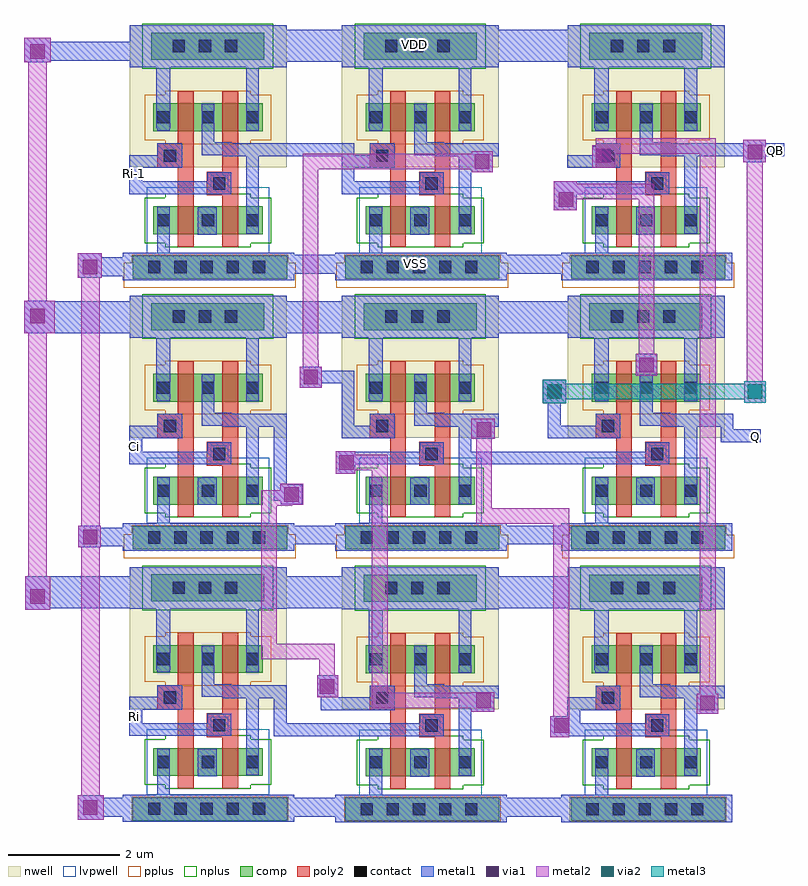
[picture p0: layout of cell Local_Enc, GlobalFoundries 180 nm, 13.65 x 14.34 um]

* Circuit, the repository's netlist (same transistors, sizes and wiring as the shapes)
* NGSPICE file created from Local_Enc.ext - technology: gf180mcuC

.subckt pmos_3p3_M8RWPS a_n28_n94# w_n202_n180# a_n116_n50# a_28_n50#
X0 a_28_n50# a_n28_n94# a_n116_n50# w_n202_n180# pfet_03v3 ad=0.22p pd=1.88u as=0.22p ps=1.88u w=0.5u l=0.28u
.ends

.subckt nmos_3p3_HZS5UA a_n28_n94# a_n116_n50# a_28_n50# VSUBS
X0 a_28_n50# a_n28_n94# a_n116_n50# VSUBS nfet_03v3 ad=0.22p pd=1.88u as=0.22p ps=1.88u w=0.5u l=0.28u
.ends

.subckt NAND VDD VSS B A OUT
Xpmos_3p3_M8RWPS_0 A VDD VDD OUT pmos_3p3_M8RWPS
Xpmos_3p3_M8RWPS_1 B VDD VDD OUT pmos_3p3_M8RWPS
Xnmos_3p3_HZS5UA_0 A m1_184_67# OUT VSS nmos_3p3_HZS5UA
Xnmos_3p3_HZS5UA_1 B VSS m1_184_67# VSS nmos_3p3_HZS5UA
.ends

.subckt Local_Enc Ri-1 VDD VSS Q QB Ci Ri
XNAND_0 VDD VSS Ri-1 Ri-1 NAND_1/B NAND
XNAND_1 VDD VSS NAND_1/B NAND_1/B NAND_5/B NAND
XNAND_2 VDD VSS Ci Ci NAND_6/B NAND
XNAND_4 VDD VSS NAND_4/B Q QB NAND
XNAND_3 VDD VSS Ri Ri NAND_6/A NAND
XNAND_5 VDD VSS NAND_5/B NAND_5/A NAND_8/A NAND
XNAND_6 VDD VSS NAND_6/B NAND_6/A NAND_5/A NAND
XNAND_7 VDD VSS NAND_8/A NAND_8/A NAND_4/B NAND
XNAND_8 VDD VSS QB NAND_8/A Q NAND
.ends

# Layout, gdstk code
from math import pi, radians
import gdstk
lib = gdstk.Library(unit=1e-6, precision=1e-09)
def R(c, l, rs):  # rectangles x0, y0, x1, y1
    for r in rs: c.add(gdstk.rectangle(r[:2], r[2:], *l))
def A(c, l, x, y, w, h, nx, ny, dx, dy):  # array of equal rectangles
    R(c, l, [(x+i*dx, y+j*dy, x+i*dx+w, y+j*dy+h) for i in range(nx) for j in range(ny)])
nwell = (21, 0)
comp = (22, 0)
poly2 = (30, 0)
pplus = (31, 0)
nplus = (32, 0)
contact = (33, 0)
metal1 = (34, 0)
via1 = (35, 0)
metal2 = (36, 0)
via2 = (38, 0)
metal3 = (42, 0)
lvpwell = (204, 0)

pmos_3p3_m8rwps = lib.new_cell('pmos_3p3_M8RWPS')
R(pmos_3p3_m8rwps, nwell, [(-1.01,-0.9,1.01,0.9)])
R(pmos_3p3_m8rwps, comp, [(-0.58,-0.25,0.58,0.25)])
R(pmos_3p3_m8rwps, poly2, [(-0.14,-0.47,0.14,0.47)])
R(pmos_3p3_m8rwps, pplus, [(-0.37,-0.48,0.37,-0.41), (-0.74,-0.41,0.74,0.41), (-0.37,0.41,0.37,0.48)])
R(pmos_3p3_m8rwps, contact, [(-0.51,-0.11,-0.29,0.11), (0.29,-0.11,0.51,0.11)])
R(pmos_3p3_m8rwps, metal1, [(-0.515,-0.24,-0.285,0.24), (0.285,-0.24,0.515,0.24)])

nmos_3p3_hzs5ua = lib.new_cell('nmos_3p3_HZS5UA')
R(nmos_3p3_hzs5ua, comp, [(-0.58,-0.25,0.58,0.25)])
R(nmos_3p3_hzs5ua, poly2, [(-0.14,-0.47,0.14,0.47)])
R(nmos_3p3_hzs5ua, nplus, [(-0.37,-0.48,0.37,-0.41), (-0.74,-0.41,0.74,0.41), (-0.37,0.41,0.37,0.48)])
R(nmos_3p3_hzs5ua, contact, [(-0.51,-0.11,-0.29,0.11), (0.29,-0.11,0.51,0.11)])
R(nmos_3p3_hzs5ua, metal1, [(-0.515,-0.24,-0.285,0.24), (0.285,-0.24,0.515,0.24)])
R(nmos_3p3_hzs5ua, lvpwell, [(-0.7,-0.59,0.7,0.59)])

nand = lib.new_cell('NAND')
R(nand, nwell, [(0.56,1.61,0.61,1.66), (1.55,1.64,2.51,1.73), (0.19,1.66,0.625,1.965), (1.36,1.73,2.51,1.76), (1.55,1.76,2.51,1.895), (1.55,1.895,2.38,1.9), (1.215,1.96,2.015,1.97), (0.19,1.965,0.635,1.97), (1.215,1.97,1.53,1.99), (-0.31,3.34,2.51,4.09)])
R(nand, comp, [(-0.25,-0.46,2.52,-0.05), (0.08,3.475,2.11,3.96)])
R(nand, poly2, [(1.08,1.04,1.515,1.06), (0.56,1.06,0.84,1.53), (1.08,1.06,1.64,1.465), (1.36,1.465,1.64,1.97), (0.19,1.53,0.84,1.97)])
R(nand, pplus, [(-0.27,-0.48,2.54,-0.03), (1.07,1.96,1.13,2.03), (1.07,2.85,1.13,2.92)])
R(nand, nplus, [(1.07,0.11,1.13,0.18), (1.07,1,1.13,1.07), (-0.08,3.315,2.27,4.12)])
A(nand, contact, 0.025, -0.36, 0.22, 0.22, 5, 1, 0.47, 0)
A(nand, contact, 0.465, 3.61, 0.22, 0.22, 3, 1, 0.47, 0)
R(nand, contact, [(1.19,1.14,1.41,1.36), (0.305,1.64,0.525,1.86)])
R(nand, metal1, [(-0.43,-0.485,2.65,0.005), (0.185,0.005,0.415,0.83), (0.92,0.335,1.255,0.825), (1.785,0.35,2.015,1.74), (-0.305,1.06,1.515,1.29), (1.09,1.29,1.515,1.455), (-0.315,1.53,0.635,1.76), (1.365,1.74,2.51,1.76), (0.19,1.76,0.635,1.97), (0.985,1.76,2.51,1.97), (0.985,1.97,1.53,1.99), (0.985,1.99,1.215,2.2), (0.985,2.2,1.21,2.235), (1.785,2.2,2.015,3.34), (1.045,2.235,1.15,2.27), (0.17,2.245,0.425,3.34), (-0.31,3.34,2.51,4.09)])
R(nand, lvpwell, [(0.435,1.055,1.09,1.06), (1.515,1.055,2.08,1.06), (1.145,1.105,1.46,1.4), (1.145,1.4,1.445,1.405)])
nand.add(gdstk.Reference(pmos_3p3_m8rwps, (0.7,2.44)))
nand.add(gdstk.Reference(pmos_3p3_m8rwps, (1.5,2.44), rotation=pi, x_reflection=True))
nand.add(gdstk.Reference(nmos_3p3_hzs5ua, (0.7,0.59)))
nand.add(gdstk.Reference(nmos_3p3_hzs5ua, (1.5,0.59)))
nand.add(gdstk.Label('VDD', (1.035,3.72), layer=22, texttype=0))
nand.add(gdstk.Label('VSS', (1.08,-0.24), layer=22, texttype=0))
nand.add(gdstk.Label('B', (-0.165,1.65), layer=34, texttype=10))
nand.add(gdstk.Label('A', (-0.15,1.16), layer=34, texttype=10))
nand.add(gdstk.Label('OUT', (2.345,1.88), layer=34, texttype=10))

local_enc = lib.new_cell('Local_Enc')
R(local_enc, nwell, [(8.69,11.765,9.07,12.135)])
R(local_enc, pplus, [(0.275,4.74,3.365,4.88), (4.09,4.74,7.18,4.88), (8.145,4.74,11.235,4.88), (0.275,4.88,0.415,5.165), (3.225,4.88,3.365,5.165), (4.09,4.88,4.23,5.16), (7.04,4.88,7.18,5.16), (8.145,4.88,8.285,5.16), (11.095,4.88,11.235,5.16), (0.275,9.595,3.365,9.735), (4.09,9.595,7.18,9.735), (8.145,9.595,11.235,9.735), (0.275,9.735,0.415,10.04), (3.225,9.735,3.365,10.04), (4.09,9.735,4.23,10.04), (7.04,9.735,7.18,10.04), (8.145,9.735,8.285,10.04), (11.095,9.735,11.235,10.04)])
R(local_enc, metal1, [(-0.555,0.035,-0.09,0.095), (-0.555,0.095,11.145,0.43), (-0.555,0.43,-0.09,0.48), (7.93,1.525,8.275,1.545), (2.965,1.54,4.425,1.77), (0.37,1.545,0.6,2.245), (7.93,1.545,8.47,1.9), (2.965,1.77,3.195,2.455), (8.24,1.9,8.47,2.24), (10.56,1.945,10.945,2.3), (6.515,1.98,6.93,2.33), (3.81,2.01,4.415,2.24), (3.745,2.24,4.12,2.63), (10.62,2.3,10.9,2.32), (10.645,2.32,10.875,2.45), (6.595,2.33,6.875,2.36), (6.62,2.36,6.85,2.45), (-1.495,3.815,-1.05,3.835), (-1.495,3.835,-1.04,3.84), (-1.495,3.84,10.98,4.415), (-0.55,4.93,-0.145,4.95), (-0.55,4.95,0.59,4.985), (-0.55,4.985,11.095,5.285), (-0.55,5.285,-0.145,5.32), (0.255,5.285,11.095,5.32), (3.09,5.705,3.48,5.77), (2.965,5.77,3.48,6.065), (2.965,6.065,3.195,7.33), (4.08,6.255,4.43,6.66), (0.37,6.42,0.6,7.12), (6.315,6.42,8.48,6.65), (10.99,6.82,11.715,7.05), (6.515,6.885,6.935,7.245), (4.185,6.89,4.415,7.875), (7.89,6.89,8.47,7.12), (10.99,7.05,11.22,7.1), (10.835,7.1,11.22,7.33), (7.89,7.12,8.12,7.52), (6.625,7.245,6.855,7.33), (7.8,7.52,8.215,7.94), (3.435,7.795,3.825,7.875), (3.435,7.875,4.415,8.105), (9.545,7.96,9.775,8.015), (9.465,8.015,9.855,8.405), (3.435,8.105,3.825,8.175), (-1.52,8.78,10.935,9.355), (-1.52,9.355,-0.97,9.36), (-0.555,9.775,-0.125,9.805), (-0.555,9.805,0.59,9.85), (-0.555,9.85,11.135,10.14), (-0.555,10.14,-0.125,10.21), (0.255,10.14,11.135,10.185), (7.995,10.985,8.405,11.51), (0.37,11.275,0.6,11.975), (4.185,11.275,4.415,11.955), (6.495,11.665,6.9,12.05), (8.69,11.765,9.07,12.135), (11.4,11.845,11.805,11.955), (2.965,11.955,4.415,12.185), (10.835,11.955,12.13,12.185), (11.4,12.185,11.805,12.255), (-1.52,13.645,-1.04,13.675), (0.375,13.65,11.06,13.675), (-1.52,13.675,11.06,14.01), (-1.52,14.01,-1.04,14.085), (0.375,14.01,11.06,14.225), (0.375,14.225,0.95,14.23)])
R(local_enc, via1, [(-0.46,0.13,-0.2,0.39), (8,1.6,8.26,1.86), (10.63,2.01,10.89,2.27), (6.605,2.05,6.865,2.31), (3.795,2.305,4.055,2.565), (-1.41,3.915,-1.15,4.175), (-0.46,4.985,-0.2,5.245), (3.155,5.755,3.415,6.015), (4.14,6.325,4.4,6.585), (6.61,6.92,6.87,7.18), (7.875,7.6,8.135,7.86), (3.5,7.86,3.76,8.12), (9.53,8.08,9.79,8.34), (-1.41,8.955,-1.15,9.215), (-0.465,9.84,-0.205,10.1), (8.085,11.05,8.345,11.31), (6.58,11.735,6.84,11.995), (8.755,11.835,9.015,12.095), (11.475,11.905,11.735,12.165), (-1.41,13.71,-1.15,13.97)])
R(local_enc, metal2, [(-0.555,0.035,-0.09,0.48), (-0.495,0.48,-0.16,4.93), (7.93,1.525,8.275,1.9), (7.99,1.9,8.27,5.355), (10.56,1.945,10.945,2.3), (6.515,1.98,6.93,2.04), (4.73,2.04,6.93,2.32), (3.745,2.24,4.12,2.63), (10.62,2.3,10.9,12), (4.73,2.32,5.01,6.315), (6.515,2.32,6.93,2.33), (3.785,2.63,4.065,2.92), (2.74,2.92,4.065,3.2), (2.74,3.2,3.02,5.675), (-1.495,3.815,-1.05,4.415), (-1.445,4.415,-1.11,8.78), (-0.55,4.93,-0.145,5.32), (-0.495,5.32,-0.16,9.775), (6.605,5.355,8.27,5.635), (6.605,5.635,6.885,6.73), (2.74,5.675,3.3,5.7), (2.74,5.7,3.495,5.955), (3.08,5.955,3.495,6.07), (4.08,6.255,4.43,6.315), (4.08,6.315,5.01,6.595), (4.08,6.595,4.43,6.66), (6.6,6.73,6.885,6.885), (6.515,6.885,6.935,7.245), (7.8,7.52,8.215,7.94), (11.42,7.53,11.8,7.915), (3.435,7.795,3.825,8.175), (11.465,7.915,11.745,11.845), (9.465,8.015,9.855,8.405), (3.485,8.175,3.77,8.295), (3.485,8.295,3.765,11.725), (9.52,8.405,9.8,11.185), (-1.52,8.78,-0.97,9.36), (-1.445,9.36,-1.11,13.645), (-0.555,9.775,-0.125,10.21), (7.995,10.985,8.405,11.185), (7.995,11.185,9.8,11.465), (7.995,11.465,8.405,11.51), (6.52,11.665,6.9,11.725), (3.485,11.725,6.9,12.005), (8.69,11.745,9.095,12), (11.4,11.845,11.805,12.255), (8.69,12,10.9,12.15), (6.52,12.005,6.9,12.05), (8.745,12.15,10.9,12.28), (-1.52,13.645,-1.04,14.085)])
R(local_enc, via2, [(7.875,7.6,8.135,7.86), (11.475,7.6,11.735,7.86)])
R(local_enc, metal3, [(7.8,7.52,8.215,7.59), (11.42,7.53,11.8,7.59), (7.8,7.59,11.8,7.87), (7.8,7.87,8.215,7.94), (11.42,7.87,11.8,7.915)])
local_enc.add(gdstk.Reference(nand, (8.555,5.36)))
local_enc.add(gdstk.Reference(nand, (8.555,0.48)))
local_enc.add(gdstk.Reference(nand, (4.5,0.48)))
local_enc.add(gdstk.Reference(nand, (4.5,5.36)))
local_enc.add(gdstk.Reference(nand, (8.555,10.215)))
local_enc.add(gdstk.Reference(nand, (0.685,0.485)))
local_enc.add(gdstk.Reference(nand, (0.685,5.36)))
local_enc.add(gdstk.Reference(nand, (4.5,10.215)))
local_enc.add(gdstk.Reference(nand, (0.685,10.215)))
local_enc.add(gdstk.Label('Ri-1', (0.465,11.64), layer=34, texttype=10))
local_enc.add(gdstk.Label('VDD', (5.49,13.96), layer=34, texttype=10))
local_enc.add(gdstk.Label('VSS', (5.51,10.025), layer=34, texttype=10))
local_enc.add(gdstk.Label('Q', (11.61,6.925), layer=34, texttype=10))
local_enc.add(gdstk.Label('QB', (11.98,12.06), layer=34, texttype=10))
local_enc.add(gdstk.Label('Ci', (0.465,6.75), layer=34, texttype=10))
local_enc.add(gdstk.Label('Ri', (0.46,1.885), layer=34, texttype=10))

lib.write_gds('Local_Enc.gds')
